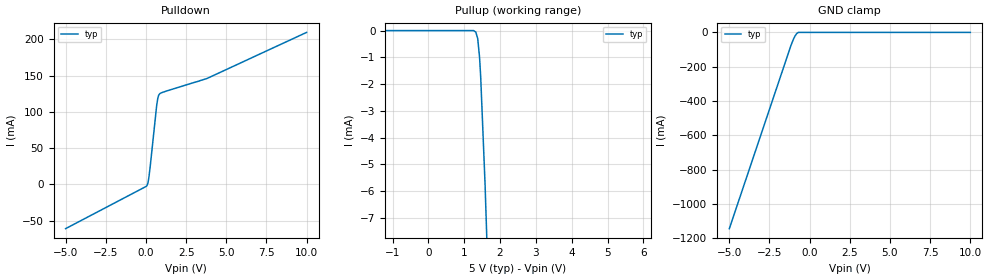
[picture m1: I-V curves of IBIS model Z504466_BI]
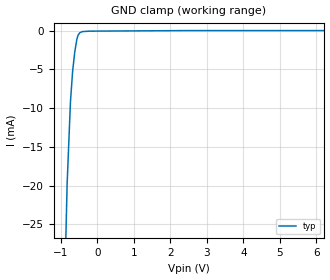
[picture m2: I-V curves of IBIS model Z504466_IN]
| YOU ARE ONLY AUTHORIZED TO USE THIS SOFTWARE
| ACCORDING TO LICENSOR'S LICENSE RESTRICTIONS.
[IBIS Ver] 3.1
[File Name] sn54ls640j.ibs
[File Rev] 2.0
[Source] Measured and created by ICX Technology
[Date] Friday 7/14/00 9:08:15 AM
[Copyright]
| (C) COPYRIGHT 1993-2000
| MENTOR GRAPHICS CORPORATION
| ICX STANDARD LIBRARY, ICX PROJECT MODELING,
| ICX CUSTOM MODELING, ICX VENDOR MODEL
| ALL RIGHTS RESERVED.
| THE FOLLOWING ARE TRADEMARKS OR SERVICE MARKS OF
| MENTOR GRAPHICS CORPORATION:ICX (R), ICX STANDARD
| LIBRARY(R), ICX PROJECT MODELING(R), ICX CUSTOM
| MODELING(R), qualityIBIS(TM), MODELVIEWER(TM),
| AND MODELEDITOR(TM)
| ALL COPIES OF SOFTWARE, INCLUDING BUT NOT LIMITED TO
| ANY MODIFICATIONS, ENHANCEMENTS OR DERIVATIVE WORKS,
| MUST CONTAIN ALL MENTOR GRAPHICS CORPORATION'S
| NOTICES AND LEGENDS, INCLUDING THOSE EMBEDDED IN
| SOFTWARE AND THOSE AFFIXED TO SOFTWARE MEDIUM
| AND CONTAINER, AS RECEIVED FROM MENTOR GRAPHICS
| CORPORATION.
|  ZAP Model Builder 2.7
[Component] SN54LS640J
[Manufacturer] OnSemiconductor
[Package]
| variable   typ   min   max
R_pkg  .216ohms NA NA
L_pkg  5.76nH NA NA
C_pkg  2.193pF NA NA
[Pin] signal_name  model_name  R_pin  L_pin C_pin
1 DIR Z504466_IN .232 9.76n 3.179p
2 A0 Z504466_BI .224 7.26n 2.686p
3 A1 Z504466_BI .216 5.26n 2.193p
4 A2 Z504466_BI .208 3.76n 1.7p
5 A3 Z504466_BI .2 2.76n 1.207p
6 A4 Z504466_BI .2 2.76n 1.207p
7 A5 Z504466_BI .208 3.76n 1.7p
8 A6 Z504466_BI .216 5.26n 2.193p
9 A7 Z504466_BI .224 7.26n 2.686p
10 GND GND .232 9.76n 3.179p
11 B7 Z504466_BI .232 9.76n 3.179p
12 B6 Z504466_BI .224 7.26n 2.686p
13 B5 Z504466_BI .216 5.26n 2.193p
14 B4 Z504466_BI .208 3.76n 1.7p
15 B3 Z504466_BI .2 2.76n 1.207p
16 B2 Z504466_BI .2 2.76n 1.207p
17 B1 Z504466_BI .208 3.76n 1.7p
18 B0 Z504466_BI .216 5.26n 2.193p
19 _G Z504466_IN .224 7.26n 2.686p
20 VCC POWER .232 9.76n 3.179p
| Models and submodels in the file (2): Z504466_BI (I/O), Z504466_IN (Input)
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| (C) COPYRIGHT 1993-2000
| MENTOR GRAPHICS CORPORATION
| ICX STANDARD LIBRARY, ICX PROJECT MODELING,
| ICX CUSTOM MODELING, ICX VENDOR MODEL
| ALL RIGHTS RESERVED.
| THE FOLLOWING ARE TRADEMARKS OR SERVICE MARKS OF
| MENTOR GRAPHICS CORPORATION:ICX (R), ICX STANDARD
| LIBRARY(R), ICX PROJECT MODELING(R), ICX CUSTOM
| MODELING(R), qualityIBIS(TM), MODELVIEWER(TM),
| AND MODELEDITOR(TM)
| ALL COPIES OF SOFTWARE, INCLUDING BUT NOT LIMITED TO
| ANY MODIFICATIONS, ENHANCEMENTS OR DERIVATIVE WORKS,
| MUST CONTAIN ALL MENTOR GRAPHICS CORPORATION'S
| NOTICES AND LEGENDS, INCLUDING THOSE EMBEDDED IN
| SOFTWARE AND THOSE AFFIXED TO SOFTWARE MEDIUM
| AND CONTAINER, AS RECEIVED FROM MENTOR GRAPHICS
| CORPORATION.
| Model Application Version 1.89 2/18/99.
[Model] Z504466_BI
Model_type I/O
Vinl=800.0mV
Vinh=2.000V
Vref=588.0mV
Rref=588.5ohms
Cref=45.00pF
Vmeas=1.300V
C_comp 8.000pF NA NA
| variable typ   min   max
[Voltage Range] 5.000V NA NA
[POWER Clamp Reference] 5.000V NA NA
[Pullup Reference] 5.000V NA NA
[Pulldown Reference] 0.000V NA NA
[GND Clamp Reference] 0.000V NA NA
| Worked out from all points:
|   slope of the pulldown table from 0 to 0.75 V, typ, clamps not added: 6.12 ohm
|   GND clamp passes 1 mA (typ) near -0.72 V on its own axis
[GND Clamp]
-5V       -1.143A    NA         NA
-1.167V   -76.73mA   NA         NA
-1.01V    -39.68mA   NA         NA
-913.1mV  -21.25mA   NA         NA
-808.1mV  -7.025mA   NA         NA
-707.1mV  0A         NA         NA
10V       0A         NA         NA
[Pulldown]
-5V       -61.25mA   NA         NA
68.51mV   -1.749mA   NA         NA
128.4mV   2.062mA    NA         NA
180.7mV   8.693mA    NA         NA
262.5mV   23.53mA    NA         NA
669.3mV   108.6mA    NA         NA
737.5mV   118.4mA    NA         NA
791.3mV   122.8mA    NA         NA
854.5mV   124.9mA    NA         NA
1.226V    128.4mA    NA         NA
3.784V    145.9mA    NA         NA
10V       209.7mA    NA         NA
[Pullup]
-5V       1.225uA    NA         NA
1.259V    1.225uA    NA         NA
1.323V    -53.04uA   NA         NA
1.377V    -299.3uA   NA         NA
1.429V    -1.009mA   NA         NA
1.46V     -1.733mA   NA         NA
1.582V    -5.749mA   NA         NA
10V       -355.4mA   NA         NA
[POWER Clamp]
-5V       0A         NA         NA
10V       0A         NA         NA
[Ramp]
| variable typ min max
dV/dt_r 1.980/8.058n NA NA
dV/dt_f 1.980/3.627n NA NA
R_load = 500.0Ohms
| (C) COPYRIGHT 1993-2000
| MENTOR GRAPHICS CORPORATION
| ICX STANDARD LIBRARY, ICX PROJECT MODELING,
| ICX CUSTOM MODELING, ICX VENDOR MODEL
| ALL RIGHTS RESERVED.
| THE FOLLOWING ARE TRADEMARKS OR SERVICE MARKS OF
| MENTOR GRAPHICS CORPORATION:ICX (R), ICX STANDARD
| LIBRARY(R), ICX PROJECT MODELING(R), ICX CUSTOM
| MODELING(R), qualityIBIS(TM), MODELVIEWER(TM),
| AND MODELEDITOR(TM)
| ALL COPIES OF SOFTWARE, INCLUDING BUT NOT LIMITED TO
| ANY MODIFICATIONS, ENHANCEMENTS OR DERIVATIVE WORKS,
| MUST CONTAIN ALL MENTOR GRAPHICS CORPORATION'S
| NOTICES AND LEGENDS, INCLUDING THOSE EMBEDDED IN
| SOFTWARE AND THOSE AFFIXED TO SOFTWARE MEDIUM
| AND CONTAINER, AS RECEIVED FROM MENTOR GRAPHICS
| CORPORATION.
| Model Application Version 1.89 2/18/99.
[Model] Z504466_IN
Model_type Input
Vinl = 800.0mV
Vinh = 2.000V
C_comp 4.000pF NA NA
| variable typ   min   max
[Voltage Range] 5.000V NA NA
[GND Clamp Reference] 0.000V NA NA
[POWER Clamp Reference] 5.000V NA NA
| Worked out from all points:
|   GND clamp passes 1 mA (typ) near -0.55 V on its own axis
[GND Clamp]
-5V       -856.7mA   NA         NA
-828mV    -19.83mA   NA         NA
-736.7mV  -9.221mA   NA         NA
-678.4mV  -5.309mA   NA         NA
-620.1mV  -2.793mA   NA         NA
-560.8mV  -1.097mA   NA         NA
-527.2mV  -575.2uA   NA         NA
-483.7mV  -280.2uA   NA         NA
-409.4mV  -116.7uA   NA         NA
-204.7mV  -60.14uA   NA         NA
2.501V    13.16uA    NA         NA
10V       13.16uA    NA         NA
[POWER Clamp]
-5V       0A         NA         NA
10V       0A         NA         NA
